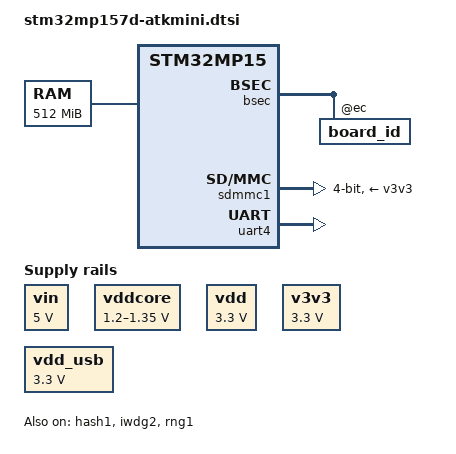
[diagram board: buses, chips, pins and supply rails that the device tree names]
// SPDX-License-Identifier: (GPL-2.0+ OR BSD-3-Clause)
/*
 * Copyright (C) STMicroelectronics 2017 - All Rights Reserved
 * Author: Ludovic Barre <ludovic.barre@st.com> for STMicroelectronics.
 */

#include <dt-bindings/clock/stm32mp1-clksrc.h>
#include <dt-bindings/power/stm32mp1-power.h>
#include "stm32mp15-ddr3-1x4Gb-1066-binG.dtsi"

/ {
	memory@c0000000 {
		device_type = "memory";
		reg = <0xC0000000 0x20000000>;
	};

	vin: vin {
		compatible = "regulator-fixed";
		regulator-name = "vin";
		regulator-min-microvolt = <5000000>;
		regulator-max-microvolt = <5000000>;
		regulator-always-on;
	};

	/* 固定电源域 */
	vddcore: regulator-vddcore {
        compatible = "regulator-fixed";
        regulator-name = "vddcore";
        regulator-min-microvolt = <1200000>;
        regulator-max-microvolt = <1350000>;
        regulator-off-in-suspend;
        regulator-always-on;
    };

	vdd: regulator-vdd {
        compatible = "regulator-fixed";
        regulator-name = "vdd";
        regulator-min-microvolt = <3300000>;
        regulator-max-microvolt = <3300000>;
        regulator-off-in-suspend;
        regulator-always-on;
    };

	v3v3: regulator-3p3v {
        compatible = "regulator-fixed";
        regulator-name = "v3v3";
        regulator-min-microvolt = <3300000>;
        regulator-max-microvolt = <3300000>;
        regulator-off-in-suspend;
        regulator-always-on;
    };

	vdd_usb: regulator-vdd-usb {
        compatible = "regulator-fixed";
        regulator-name = "vdd_usb";
        regulator-min-microvolt = <3300000>;
        regulator-max-microvolt = <3300000>;
        regulator-off-in-suspend;
        regulator-always-on;
    };
};

&bsec {
	board_id: board_id@ec {
		reg = <0xec 0x4>;
		st,non-secure-otp;
	};
};

&clk_hse {
	st,digbypass;
};

&hash1 {
	status = "okay";
};

&iwdg2 {
	timeout-sec = <32>;
	secure-timeout-sec = <5>;
	status = "okay";
};

&pwr_regulators {
	system_suspend_supported_soc_modes = <
		STM32_PM_CSLEEP_RUN
		STM32_PM_CSTOP_ALLOW_LP_STOP
		// STM32_PM_CSTOP_ALLOW_LPLV_STOP
		// STM32_PM_CSTOP_ALLOW_STANDBY_DDR_SR
	>;
	system_off_soc_mode = <STM32_PM_CSTOP_ALLOW_STANDBY_DDR_OFF>;
	vdd-supply = <&vdd>;
	vdd_3v3_usbfs-supply = <&vdd_usb>;
};

&rcc {
	st,hsi-cal;
	st,csi-cal;
	st,cal-sec = <60>;
	st,clksrc = <
		CLK_MPU_PLL1P
		CLK_AXI_PLL2P
		CLK_MCU_PLL3P
		CLK_PLL12_HSE
		CLK_PLL3_HSE
		CLK_PLL4_HSE
		CLK_RTC_LSE
		CLK_MCO1_DISABLED
		CLK_MCO2_DISABLED
	>;

	st,clkdiv = <
		1 /*MPU*/
		0 /*AXI*/
		0 /*MCU*/
		1 /*APB1*/
		1 /*APB2*/
		1 /*APB3*/
		1 /*APB4*/
		2 /*APB5*/
		0 /*RTC*/
		0 /*MCO1*/
		0 /*MCO2*/
	>;

	st,pkcs = <
		CLK_CKPER_DISABLED
		CLK_ETH_PLL3Q
		CLK_SDMMC12_PLL4P
		CLK_STGEN_HSE
		CLK_USBPHY_DISABLED
		CLK_SPI2S1_DISABLED
		CLK_SPI2S23_DISABLED
		CLK_SPI45_DISABLED
		CLK_SPI6_DISABLED
		CLK_I2C46_DISABLED
		CLK_SDMMC3_DISABLED
		CLK_ADC_DISABLED
		CLK_CEC_DISABLED
		CLK_I2C12_DISABLED
		CLK_I2C35_DISABLED
		CLK_UART1_DISABLED
		CLK_UART24_PLL4Q
		CLK_UART35_DISABLED
		CLK_UART6_DISABLED
		CLK_UART78_DISABLED
		CLK_SPDIF_DISABLED
		CLK_SAI1_DISABLED
		CLK_SAI2_DISABLED
		CLK_SAI3_DISABLED
		CLK_SAI4_DISABLED
		CLK_LPTIM1_DISABLED
		CLK_LPTIM23_DISABLED
		CLK_LPTIM45_DISABLED
	>;

	pll2: st,pll@1 {
		compatible = "st,stm32mp1-pll";
		reg = <1>;
		cfg = <2 65 1 0 0 PQR(1,0,1)>;
		frac = <0x1400>;
	};

	/* VCO = 417.8 MHz => P = 209, Q = 24, R = 11 */
	pll3: st,pll@2 {
		compatible = "st,stm32mp1-pll";
		reg = <2>;
		cfg = < 3 124 3 5 5 PQR(1,1,0) >;
	};

	/* VCO = 594.0 MHz => P = 99, Q = 74, R = 74 */
	pll4: st,pll@3 {
		compatible = "st,stm32mp1-pll";
		reg = <3>;
		cfg = < 2 59 5 23 1 PQR(1,1,0) >;
	};
};

&rng1 {
	status = "okay";
	secure-status = "okay";
};

&sdmmc1 {
	pinctrl-names = "default";
	pinctrl-0 = <&sdmmc1_b4_pins_a>;
	st,neg-edge;
    broken-cd;
	bus-width = <4>;
	vmmc-supply = <&v3v3>;
	status = "okay";
};

&uart4 {
	pinctrl-names = "default";
	pinctrl-0 = <&uart4_pins_mx>;
	status = "okay";
};

